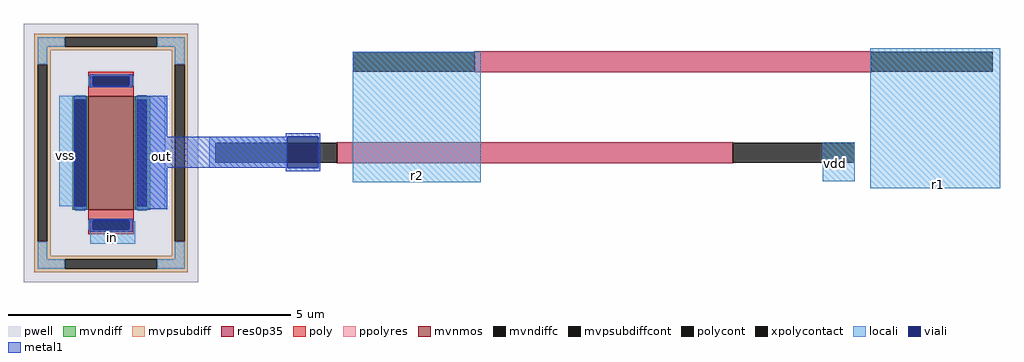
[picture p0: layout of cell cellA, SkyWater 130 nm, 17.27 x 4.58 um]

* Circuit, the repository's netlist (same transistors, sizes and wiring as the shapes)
**.subckt cellA in VDD out VSS R1 R2
*.ipin in
*.iopin VDD
*.opin out
*.iopin VSS
*.iopin R1
*.iopin R2
XM3 out in VSS GND sky130_fd_pr__nfet_g5v0d10v5 L=0.8 W=2 nf=1 ad='int((nf+1)/2) * W/nf * 0.29' as='int((nf+2)/2) * W/nf * 0.29'
+ pd='2*int((nf+1)/2) * (W/nf + 0.29)' ps='2*int((nf+2)/2) * (W/nf + 0.29)' nrd='0.29 / W' nrs='0.29 / W'
+ sa=0 sb=0 sd=0 mult=1 m=1 
XR1 out VDD GND sky130_fd_pr__res_high_po_0p35 W=0.35 L=20 mult=1 m=1
XR2 R2 R1 GND sky130_fd_pr__res_high_po_0p35 W=0.35 L=20 mult=1 m=1
**.ends
.GLOBAL GND
** flattened .save nodes
.end

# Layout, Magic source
magic
tech sky130A
magscale 1 2
<< locali >>
rect -440 2012 -344 2402
rect -158 2002 -64 2402
rect 92 2148 368 2258
rect 600 2096 1052 2558
rect 2262 2100 2376 2238
rect 2430 2076 2890 2570
rect -330 1878 -170 1958
<< viali >>
rect 368 2148 478 2258
<< metal1 >>
rect -167 2258 -57 2403
rect 362 2258 484 2270
rect -167 2148 368 2258
rect 478 2148 484 2258
rect -167 2001 -57 2148
rect 362 2136 484 2148
use sky130_fd_pr__nfet_g5v0d10v5_UDRKLA  sky130_fd_pr__nfet_g5v0d10v5_UDRKLA_0
transform 1 0 -256 0 1 2200
box -308 -458 308 458
use sky130_fd_pr__res_high_po_0p35_L6NJBM  sky130_fd_pr__res_high_po_0p35_L6NJBM_0
transform 0 1 1244 -1 0 2201
box -37 -1132 37 1132
use sky130_fd_pr__res_high_po_0p35_L6NJBM  sky130_fd_pr__res_high_po_0p35_L6NJBM_1
transform 0 1 1732 -1 0 2523
box -37 -1132 37 1132
<< labels >>
rlabel locali -76 2186 -76 2186 1 out
port 2 n
rlabel locali -418 2190 -418 2190 1 vss
port 3 n
rlabel locali -250 1902 -250 1902 1 in
port 0 n
rlabel locali 2672 2090 2672 2090 1 r1
port 4 n
rlabel locali 830 2120 830 2120 1 r2
port 5 n
rlabel locali 2308 2164 2308 2164 1 vdd
port 1 n
<< end >>

# cell sky130_fd_pr__nfet_g5v0d10v5_UDRKLA: kit device sky130_fd_pr__nfet_g5v0d10v5, w 2 l .8 m 1 nf 1 diffcov 100 polycov 100 guard 1 glc 1 grc 1 gtc 1 gbc 1 tbcov 100 rlcov 100 topc 1 botc 1 poverlap 0 doverlap 1 lmin 0.50 wmin 0.42 compatible {sky130_fd_pr__nfet_01v8 sky130_fd_pr__nfet_01v8_lvt sky130_fd_bs_flash__special_sonosfet_star sky130_fd_pr__nfet_g5v0d10v5 sky130_fd_pr__nfet_05v0_nvt sky130_fd_pr__nfet_03v3_nvt} full_metal 1 viasrc 100 viadrn 100 viagate 100 viagb 0 viagr 0 viagl 0 viagt 0

# cell sky130_fd_pr__res_high_po_0p35_L6NJBM: kit device sky130_fd_pr__res_high_po_0p35, w 0.350 l 7.0 m 1 nx 1 wmin 0.350 lmin 0.50 rho 319.8 val 6.505k dummy 0 dw 0.0 term 19.188 sterm 0.0 caplen 0 guard 0 glc 0 grc 0 gtc 0 gbc 0 compatible {sky130_fd_pr__res_high_po_0p35 sky130_fd_pr__res_high_po_0p69 sky130_fd_pr__res_high_po_1p41 sky130_fd_pr__res_high_po_2p85 sky130_fd_pr__res_high_po_5p73} full_metal 0 wmax 0.350 vias 0 n_guard 0 hv_guard 0 viagb 0 viagt 0 viagl 0 viagr 0
